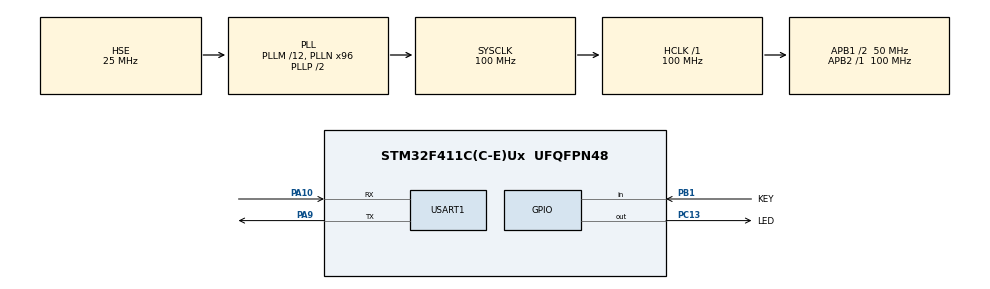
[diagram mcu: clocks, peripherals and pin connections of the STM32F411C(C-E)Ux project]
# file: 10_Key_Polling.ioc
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FREERTOS.Queues01=Queue_Key,10,uint8_t,0,Dynamic,NULL,NULL
FREERTOS.Tasks01=defaultTask,24,128,StartDefaultTask,Default,NULL,Dynamic,NULL,NULL;Task_ScanKey,24,128,AppTask_ScanKey,Default,NULL,Dynamic,NULL,NULL;Task_Led,16,128,AppTask_Led,Default,NULL,Dynamic,NULL,NULL
Mcu.Family=STM32F4
Mcu.Name=STM32F411C(C-E)Ux
Mcu.Package=UFQFPN48
NVIC.PriorityGroup=NVIC_PRIORITYGROUP_4
NVIC.TIM1_UP_TIM10_IRQn=true\:15\:0\:false\:false\:true\:false\:false\:true\:true
NVIC.TimeBase=TIM1_UP_TIM10_IRQn
NVIC.TimeBaseIP=TIM1
PA10.Mode=Asynchronous
PA10.Signal=USART1_RX
PA13.Mode=Serial_Wire
PA13.Signal=SYS_JTMS-SWDIO
PA14.Mode=Serial_Wire
PA14.Signal=SYS_JTCK-SWCLK
PA9.Mode=Asynchronous
PA9.Signal=USART1_TX
PB1.GPIO_Label=KEY
PB1.Signal=GPIO_Input
PC13-ANTI_TAMP.GPIO_Label=LED
PC13-ANTI_TAMP.PinState=GPIO_PIN_SET
PC13-ANTI_TAMP.Signal=GPIO_Output
PH0\ -\ OSC_IN.Mode=HSE-External-Oscillator
PH0\ -\ OSC_IN.Signal=RCC_OSC_IN
PH1\ -\ OSC_OUT.Mode=HSE-External-Oscillator
PH1\ -\ OSC_OUT.Signal=RCC_OSC_OUT
ProjectManager.HeapSize=0x200
ProjectManager.StackSize=0x400
ProjectManager.TargetToolchain=MDK-ARM V5.32
RCC.48MHZClocksFreq_Value=50000000
RCC.AHBFreq_Value=100000000
RCC.APB1CLKDivider=RCC_HCLK_DIV2
RCC.APB1Freq_Value=50000000
RCC.APB1TimFreq_Value=100000000
RCC.APB2Freq_Value=100000000
RCC.APB2TimFreq_Value=100000000
RCC.CortexFreq_Value=100000000
RCC.HCLKFreq_Value=100000000
RCC.HSE_VALUE=25000000
RCC.HSI_VALUE=16000000
RCC.LSE_VALUE=32768
RCC.PLLM=12
RCC.PLLN=96
RCC.PLLSourceVirtual=RCC_PLLSOURCE_HSE
RCC.SYSCLKFreq_VALUE=100000000
RCC.SYSCLKSource=RCC_SYSCLKSOURCE_PLLCLK
RCC.VCOOutputFreq_Value=200000000
USART1.VirtualMode=VM_ASYNC
VP_FREERTOS_VS_CMSIS_V2.Mode=CMSIS_V2
VP_SYS_VS_tim1.Mode=TIM1
board=custom

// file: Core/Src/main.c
/* USER CODE BEGIN Header */
/**
 ******************************************************************************
 * @file           : main.c
 * @brief          : Main program body
 ******************************************************************************
 * @attention
 *
 * Copyright (c) 2024 STMicroelectronics.
 * All rights reserved.
 *
 * This software is licensed under terms that can be found in the LICENSE file
 * in the root directory of this software component.
 * If no LICENSE file comes with this software, it is provided AS-IS.
 *
 ******************************************************************************
 */
/* USER CODE END Header */
#include "main.h"
#include "cmsis_os.h"
#include "usart.h"
#include "gpio.h"

void SystemClock_Config(void);
void MX_FREERTOS_Init(void);

int main(void)
{

  /* MCU Configuration--------------------------------------------------------*/

  /* Reset of all peripherals, Initializes the Flash interface and the Systick. */
  HAL_Init();

  /* Configure the system clock */
  SystemClock_Config();

  /* Initialize all configured peripherals */
  MX_GPIO_Init();
  MX_USART1_UART_Init();
  /* USER CODE BEGIN 2 */
	printf("device on\r\n");
  /* USER CODE END 2 */

  /* Init scheduler */
  osKernelInitialize();  /* Call init function for freertos objects (in freertos.c) */
  MX_FREERTOS_Init();

  /* Start scheduler */
  osKernelStart();

  /* We should never get here as control is now taken by the scheduler */
  /* Infinite loop */
    while (1)
    {

    }
}

void SystemClock_Config(void)
{
  RCC_OscInitTypeDef RCC_OscInitStruct = {0};
  RCC_ClkInitTypeDef RCC_ClkInitStruct = {0};

  /** Configure the main internal regulator output voltage
  */
  __HAL_RCC_PWR_CLK_ENABLE();
  __HAL_PWR_VOLTAGESCALING_CONFIG(PWR_REGULATOR_VOLTAGE_SCALE1);

  /** Initializes the RCC Oscillators according to the specified parameters
  * in the RCC_OscInitTypeDef structure.
  */
  RCC_OscInitStruct.OscillatorType = RCC_OSCILLATORTYPE_HSE;
  RCC_OscInitStruct.HSEState = RCC_HSE_ON;
  RCC_OscInitStruct.PLL.PLLState = RCC_PLL_ON;
  RCC_OscInitStruct.PLL.PLLSource = RCC_PLLSOURCE_HSE;
  RCC_OscInitStruct.PLL.PLLM = 12;
  RCC_OscInitStruct.PLL.PLLN = 96;
  RCC_OscInitStruct.PLL.PLLP = RCC_PLLP_DIV2;
  RCC_OscInitStruct.PLL.PLLQ = 4;
  if (HAL_RCC_OscConfig(&RCC_OscInitStruct) != HAL_OK)
  {
    Error_Handler();
  }

  /** Initializes the CPU, AHB and APB buses clocks
  */
  RCC_ClkInitStruct.ClockType = RCC_CLOCKTYPE_HCLK|RCC_CLOCKTYPE_SYSCLK
                              |RCC_CLOCKTYPE_PCLK1|RCC_CLOCKTYPE_PCLK2;
  RCC_ClkInitStruct.SYSCLKSource = RCC_SYSCLKSOURCE_PLLCLK;
  RCC_ClkInitStruct.AHBCLKDivider = RCC_SYSCLK_DIV1;
  RCC_ClkInitStruct.APB1CLKDivider = RCC_HCLK_DIV2;
  RCC_ClkInitStruct.APB2CLKDivider = RCC_HCLK_DIV1;

  if (HAL_RCC_ClockConfig(&RCC_ClkInitStruct, FLASH_LATENCY_3) != HAL_OK)
  {
    Error_Handler();
  }
}

void HAL_TIM_PeriodElapsedCallback(TIM_HandleTypeDef *htim)
{
  if (htim->Instance == TIM1) {
    HAL_IncTick();
  }
}

void Error_Handler(void)
{
    __disable_irq();
    while (1)
    {
    }
}

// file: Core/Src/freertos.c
/* USER CODE BEGIN Header */
/**
 ******************************************************************************
 * File Name          : freertos.c
 * Description        : Code for freertos applications
 ******************************************************************************
 * @attention
 *
 * Copyright (c) 2024 STMicroelectronics.
 * All rights reserved.
 *
 * This software is licensed under terms that can be found in the LICENSE file
 * in the root directory of this software component.
 * If no LICENSE file comes with this software, it is provided AS-IS.
 *
 ******************************************************************************
 */
/* USER CODE END Header */

#include "FreeRTOS.h"
#include "task.h"
#include "main.h"
#include "cmsis_os.h"

/* USER CODE BEGIN Includes */
#include "queue.h"
#include "bsp_key.h"
#include "bsp_led.h"
/* USER CODE END Includes */

/* Definitions for defaultTask */
osThreadId_t defaultTaskHandle;
const osThreadAttr_t defaultTask_attributes = {
  .name = "defaultTask",
  .stack_size = 128 * 4,
  .priority = (osPriority_t) osPriorityIdle,
};
/* Definitions for Task_ScanKey */
osThreadId_t Task_ScanKeyHandle;
const osThreadAttr_t Task_ScanKey_attributes = {
  .name = "Task_ScanKey",
  .stack_size = 128 * 4,
  .priority = (osPriority_t) osPriorityBelowNormal,
};
/* Definitions for Task_Led */
osThreadId_t Task_LedHandle;
const osThreadAttr_t Task_Led_attributes = {
  .name = "Task_Led",
  .stack_size = 128 * 4,
  .priority = (osPriority_t) osPriorityNormal,
};
/* Definitions for Queue_Key */
osMessageQueueId_t Queue_KeyHandle;
const osMessageQueueAttr_t Queue_Key_attributes = {
  .name = "Queue_Key"
};

void StartDefaultTask(void *argument);
void AppTask_ScanKey(void *argument);
void AppTask_Led(void *argument);

void MX_FREERTOS_Init(void); /* (MISRA C 2004 rule 8.1) */

void MX_FREERTOS_Init(void) {

  /* Create the queue(s) */
  /* creation of Queue_Key */
  Queue_KeyHandle = osMessageQueueNew (10, sizeof(key_result_t), &Queue_Key_attributes);

  /* Create the thread(s) */
  /* creation of defaultTask */
  defaultTaskHandle = osThreadNew(StartDefaultTask, NULL, &defaultTask_attributes);

  /* creation of Task_ScanKey */
  Task_ScanKeyHandle = osThreadNew(AppTask_ScanKey, NULL, &Task_ScanKey_attributes);

  /* creation of Task_Led */
  Task_LedHandle = osThreadNew(AppTask_Led, NULL, &Task_Led_attributes);

}

void StartDefaultTask(void *argument)
{
    for (;;)
    {
        osDelay(1);
    }
}

void AppTask_ScanKey(void *argument)
{
  /* USER CODE BEGIN AppTask_ScanKey */
    key_event_t key_event = \
    {
      .triggle_tick = 0,    \
      .state = KEY_RELEASE, \
      .checkstate = No_Check,
    };
    uint32_t key_interval_tick;
		uint32_t key_release_tick;
    key_result_t key_result;
    /* Infinite loop */
    for (;;)
    {
      key_event.state = key_Scan();

      switch(key_event.checkstate)
      {
        case No_Check:
          if(KEY_PRESS == key_event.state)
          {
            key_event.triggle_tick = HAL_GetTick();
            key_event.checkstate = Check_During;
          }
          else
          {
            //No action
          }
        break;

        case Check_During:
          if(KEY_RELEASE == key_event.state)
          {
            key_event.checkstate = Check_Complete;
            key_release_tick = HAL_GetTick();
          }
          else
          {
            //No action
          }
        break;

        case Check_Complete:
          key_event.checkstate = No_Check;
          key_interval_tick = key_release_tick - key_event.triggle_tick;
          if( key_release_tick < key_event.triggle_tick)
          {
              /*Clear tick
                Data crosses the line
              */
              key_release_tick = 0;
          }
          else if (key_interval_tick < 2000)
          {
              //Clear tick
              key_release_tick = 0;
              // if key is pressed after release in 200ms
              key_result = KEY_SHORT_PRESS;
              xQueueSend(Queue_KeyHandle, &key_result, portMAX_DELAY);
          }
          else if (key_interval_tick < 5000)
          {
              //Clear tick
              key_release_tick = 0;
              // send result to queue
              key_result = KEY_LONG_PRESS;
              xQueueSend(Queue_KeyHandle, &key_result, portMAX_DELAY);
          }
          else
          {
              //Clear tick
              key_release_tick = 0;
              // send result to queue
              key_result = KEY_NO_PRESS;
              xQueueSend(Queue_KeyHandle, &key_result, portMAX_DELAY);
          }
        break;

        default:
          // No action
        break;
      }
    }
  /* USER CODE END AppTask_ScanKey */
}

void AppTask_Led(void *argument)
{
  /* USER CODE BEGIN AppTask_Led */
  /* Infinite loop */
  key_result_t KeyValue;
  for (;;)
  {
    xQueueReceive(Queue_KeyHandle, &KeyValue, portMAX_DELAY);
    switch (KeyValue)
    {
        case KEY_SHORT_PRESS:
            Led_Toggle();;
            vTaskDelay(500);
            Led_Toggle();;
        break;

        case KEY_LONG_PRESS:
            // blink 3 times
            for (char i = 0; i < 6; i++)
            {
                Led_Toggle();
                vTaskDelay(500);
            }
        break;

        case KEY_NO_PRESS:
            // No action
        break;

        default:
            // No action
        break;
    }
  }
  /* USER CODE END AppTask_Led */
}
